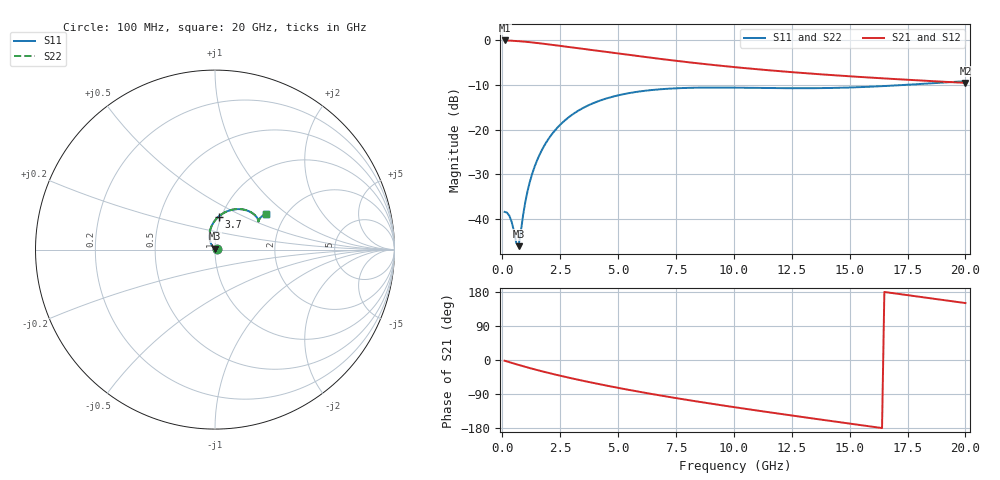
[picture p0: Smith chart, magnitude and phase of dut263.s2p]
! Touchstone file exported from HFSS 2023.1.0
!  File:  D:/Users/fzz/RDL_TSV/temp_RDL_TSV_263_1778761273.aedt
!  Generated:  8:32:16 %x4E0B%x5348  5%x6708 14, 2026
!  Design:  RDL_TSV
!  Project:  temp_RDL_TSV_263_1778761273
!  Setup:  Setup1
!  Solution:  Sweep
! Variables:
!  dtsv = 11.63um
!  hbump = 3um
!  htsv = 72.01um
!  ldown = 127.2um
!  lrdl = 666.69um
!  p = 40
!  p1 = 51.66um
!  rhole = 10um
!  subl = 3048.36um
!  t = 450um
!  tdown = 2.33um
!  trdl = 4.96um
!  viad = 10um
!  wdown = 28.1um
!  wrdl = 20.45um
!  xbump = 18um
# GHz S MA R 50.000000
! Terminal data exported
! Port[1] = TM1_1_T1
! Port[2] = TM1_4_T1
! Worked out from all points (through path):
!   200 points, 100 MHz to 20 GHz, reference 50 ohm
!   highest |S21| = -0.11 dB at 100 MHz (marker M1); lowest = -9.6 dB at 20 GHz (marker M2)
!   group delay of S21, straight-line fit = 27.4 ps
!   lowest |S11| = -46.1 dB at 700 MHz (marker M3), VSWR 1.01, Z = 50.1 + j0.48 ohm
!   |S11| at or under -10 dB: start of sweep to 17.53 GHz
!   |S22| runs from -46.1 to -9.2 dB; largest |S21 - S12| = 1.7e-14
!   S11 on the Smith chart (normalised r, x): 100 MHz: 1.02, +0.00; 3.7 GHz: 0.97, +0.37; 20 GHz: 1.60, +0.72
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0.1  0.01202 3.3  0.9874 -1.9  0.9874 -1.9  0.01202 3.3
! Gamma 0 0 0 0
! Port Impedance 50 0 50 0
0.3  0.01093 6.2  0.9835 -5.7  0.9835 -5.7  0.01093 6.2
0.4  0.009395 9.0  0.9807 -7.5  0.9807 -7.5  0.009394 9.0
0.6  0.005436 35.8  0.9739 -11.1  0.9739 -11.1  0.005434 35.8
0.7  0.004978 74.0  0.9698 -12.9  0.9698 -12.9  0.004976 74.0
0.9  0.01111 119.0  0.9605 -16.4  0.9605 -16.4  0.01111 119.0
1.1  0.02103 126.0  0.9497 -19.8  0.9497 -19.8  0.02103 126.0
1.3  0.03256 125.4  0.9379 -23.2  0.9379 -23.2  0.03255 125.4
1.6  0.05167 120.9  0.9189 -28.0  0.9189 -28.0  0.05166 120.9
2  0.07885 113.2  0.8923 -34.2  0.8923 -34.2  0.07884 113.3
2.4  0.1063 105.5  0.8654 -40.1  0.8654 -40.1  0.1063 105.5
2.9  0.1391 96.4  0.8324 -47.0  0.8324 -47.0  0.1391 96.4
3.5  0.1746 86.6  0.794 -55.0  0.794 -55.0  0.1746 86.6
3.7  0.1853 83.6  0.7816 -57.6  0.7816 -57.6  0.1853 83.6
5.1  0.2439 66.0  0.7001 -74.7  0.7001 -74.7  0.2439 66.0
6.8  0.2811 50.9  0.6153 -93.3  0.6153 -93.3  0.2812 51.0
8.4  0.2932 41.6  0.5502 -109.4  0.5502 -109.4  0.2933 41.6
10.1  0.2934 35.7  0.4952 -125.2  0.4952 -125.2  0.2934 35.7
11.7  0.29 33.2  0.4544 -139.5  0.4544 -139.5  0.2901 33.2
13.4  0.2892 32.9  0.4197 -154.2  0.4197 -154.2  0.2893 33.0
16.7  0.3076 35.0  0.3692 177.8  0.3692 177.8  0.3078 35.0
20  0.3464 34.8  0.3317 150.3  0.3317 150.3  0.3466 34.9
